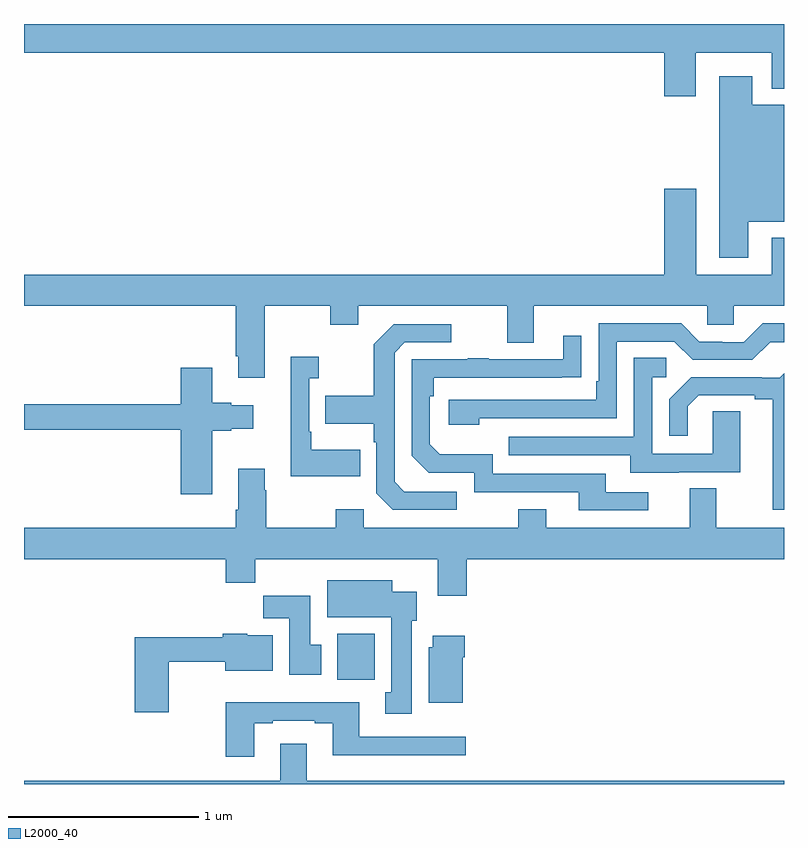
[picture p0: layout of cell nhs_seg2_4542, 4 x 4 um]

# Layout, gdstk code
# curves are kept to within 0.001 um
import gdstk
lib = gdstk.Library(unit=1e-6, precision=1e-09)
def R(c, l, rs):  # rectangles x0, y0, x1, y1
    for r in rs: c.add(gdstk.rectangle(r[:2], r[2:], *l))
def P(c, l, *ps):  # polygons
    for p in ps: c.add(gdstk.Polygon(p, *l))
L2000_40 = (2000, 40)

nhs_seg2_4542 = lib.new_cell('nhs_seg2_4542')
R(nhs_seg2_4542, L2000_40, [(358.649,632.348,358.846,632.59)])
P(nhs_seg2_4542, L2000_40, [(360.535,635.648),(360.935,635.648),(360.935,635.459),(361,635.459),(361,635.8),(357,635.8),(357,635.648),(360.371,635.648),(360.371,635.421),(360.535,635.421)],
  [(360.811,634.76),(361,634.76),(361,635.374),(360.832,635.374),(360.832,635.524),(360.659,635.524),(360.659,634.569),(360.811,634.569)],
  [(358.267,634.316),(358.612,634.316),(358.612,634.217),(358.759,634.217),(358.759,634.316),(359.543,634.316),(359.543,634.122),(359.683,634.122),(359.683,634.316),(360.597,634.316),(360.597,634.218),(360.735,634.218),(360.735,634.316),(361,634.316),(361,634.675),(360.935,634.675),(360.935,634.48),(360.538,634.48),(360.538,634.933),(360.371,634.933),(360.371,634.48),(357,634.48),(357,634.316),(358.115,634.316),(358.115,634.051),(358.127,634.051),(358.127,633.939),(358.267,633.939)],
  [(359.396,633.726),(360.12,633.726),(360.12,634.128),(360.423,634.128),(360.519,634.032),(360.834,634.032),(360.927,634.125),(361,634.125),(361,634.225),(360.889,634.225),(360.789,634.125),(360.674,634.125),(360.674,634.128),(360.555,634.128),(360.459,634.224),(360.024,634.224),(360.024,633.919),(360.011,633.919),(360.011,633.822),(359.235,633.822),(359.235,633.692),(359.396,633.692)],
  [(359.278,633.339),(359.001,633.339),(358.95,633.39),(358.95,634.071),(359.004,634.125),(359.248,634.125),(359.248,634.221),(358.947,634.221),(358.842,634.115),(358.842,633.843),(358.585,633.843),(358.585,633.695),(358.842,633.695),(358.842,633.599),(358.854,633.599),(358.854,633.33),(358.941,633.243),(359.278,633.243)],
  [(360.286,633.336),(360.061,633.336),(360.061,633.432),(359.466,633.432),(359.466,633.535),(359.189,633.535),(359.136,633.588),(359.136,633.842),(359.156,633.842),(359.156,633.939),(359.933,633.94),(359.933,634.159),(359.837,634.159),(359.837,634.035),(359.447,634.035),(359.447,634.04),(359.335,634.04),(359.335,634.035),(359.04,634.035),(359.04,633.528),(359.13,633.438),(359.37,633.438),(359.37,633.336),(359.921,633.336),(359.921,633.24),(360.286,633.24)],
  [(358.769,633.559),(358.513,633.559),(358.513,633.655),(358.5,633.655),(358.5,633.935),(358.552,633.935),(358.552,634.048),(358.403,634.048),(358.403,633.419),(358.769,633.419)],
  [(360.445,633.441),(360.769,633.441),(360.769,633.761),(360.624,633.761),(360.624,633.537),(360.306,633.537),(360.306,633.942),(360.379,633.942),(360.379,634.043),(360.21,634.043),(360.21,633.627),(359.551,633.627),(359.551,633.531),(360.191,633.531),(360.191,633.437),(360.445,633.437)],
  [(357.991,633.659),(358.091,633.659),(358.091,633.671),(358.207,633.671),(358.207,633.793),(358.091,633.793),(358.091,633.806),(357.991,633.806),(357.991,633.991),(357.824,633.991),(357.824,633.8),(357,633.8),(357,633.664),(357.824,633.664),(357.824,633.324),(357.991,633.324)],
  [(361,633.961),(360.978,633.939),(360.884,633.939),(360.884,633.942),(360.512,633.942),(360.396,633.826),(360.396,633.633),(360.493,633.633),(360.493,633.789),(360.55,633.846),(360.845,633.846),(360.845,633.824),(360.941,633.824),(360.941,633.243),(361,633.243)],
  [(359.33,632.984),(361,632.984),(361,633.148),(360.643,633.148),(360.643,633.356),(360.503,633.356),(360.503,633.148),(359.749,633.148),(359.749,633.247),(359.602,633.247),(359.602,633.148),(358.788,633.148),(358.788,633.247),(358.642,633.247),(358.642,633.148),(358.275,633.148),(358.275,633.347),(358.267,633.347),(358.267,633.46),(358.127,633.46),(358.127,633.244),(358.115,633.244),(358.115,633.148),(357,633.148),(357,632.984),(358.061,632.984),(358.061,632.86),(358.217,632.86),(358.217,632.984),(359.177,632.984),(359.177,632.79),(359.33,632.79)],
  [(359.041,632.658),(359.068,632.658),(359.068,632.812),(358.939,632.812),(358.939,632.872),(358.595,632.872),(358.595,632.678),(358.934,632.678),(358.934,632.282),(358.901,632.282),(358.901,632.169),(359.041,632.169)],
  [(358.564,632.532),(358.507,632.532),(358.507,632.79),(358.258,632.79),(358.258,632.672),(358.397,632.672),(358.397,632.376),(358.564,632.376)],
  [(357.762,632.443),(358.058,632.443),(358.058,632.396),(358.309,632.396),(358.309,632.584),(358.176,632.584),(358.176,632.59),(358.046,632.59),(358.046,632.572),(357.584,632.572),(357.584,632.178),(357.762,632.178)],
  [(359.308,632.468),(359.321,632.468),(359.321,632.581),(359.15,632.581),(359.15,632.52),(359.129,632.52),(359.129,632.228),(359.308,632.228)],
  [(358.213,632.121),(358.309,632.121),(358.309,632.133),(358.529,632.133),(358.529,632.121),(358.625,632.121),(358.625,631.952),(359.326,631.952),(359.326,632.049),(358.765,632.049),(358.765,632.23),(358.061,632.23),(358.061,631.944),(358.213,631.944)],
  [(361,631.816),(358.489,631.816),(358.489,632.011),(358.349,632.011),(358.349,631.816),(357,631.816),(357,631.8),(361,631.8)])

lib.write_gds('nhs_seg2_4542.gds')
